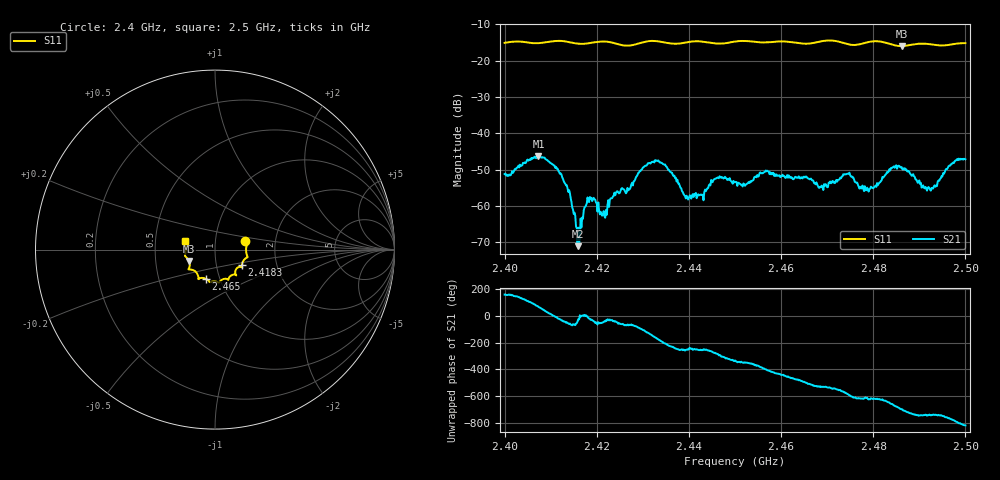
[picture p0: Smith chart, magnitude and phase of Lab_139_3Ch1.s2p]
# Hz S RI R 50
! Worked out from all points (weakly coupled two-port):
!   601 points, 2.4 GHz to 2.5 GHz, reference 50 ohm
!   highest |S21| = -46.25 dB at 2.4073 GHz (marker M1); lowest = -71.0 dB at 2.4158 GHz (marker M2)
!   lowest |S11| = -16.0 dB at 2.4862 GHz (marker M3), VSWR 1.37, Z = 37.1 - j4.83 ohm
!   |S11| at or under -10 dB: start of sweep to end of sweep
!   S12 and S22 are empty: the file has one direction only
!   S11 on the Smith chart (normalised r, x): 2.4 GHz: 1.40, +0.13; 2.4183 GHz: 1.33, -0.24; 2.465 GHz: 0.86, -0.29; 2.5 GHz: 0.71, +0.07
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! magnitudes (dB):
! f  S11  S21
! 2.4 GHz  -15.1  -51.2
! 2.4073 GHz  -15.2  -46.3
! 2.4122 GHz  -14.6  -51.0
! 2.414 GHz  -14.9  -55.6
! 2.4158 GHz  -15.3  -71.0
! 2.4167 GHz  -15.4  -65.9
! 2.4183 GHz  -15.2  -58.9
! 2.4217 GHz  -14.8  -62.7
! 2.424 GHz  -15.3  -57.0
! 2.4333 GHz  -14.7  -47.4
! 2.4395 GHz  -15.0  -57.2
! 2.4463 GHz  -15.4  -52.2
! 2.45 GHz  -14.8  -53.3
! 2.465 GHz  -15.4  -51.9
! 2.4667 GHz  -15.2  -52.9
! 2.4687 GHz  -14.7  -54.8
! 2.4743 GHz  -15.5  -51.1
! 2.4788 GHz  -14.9  -55.3
! 2.4833 GHz  -15.3  -50.5
! 2.4862 GHz  -16.0  -49.3
! 2.4922 GHz  -15.5  -55.1
! 2.5 GHz  -15.2  -47.2
